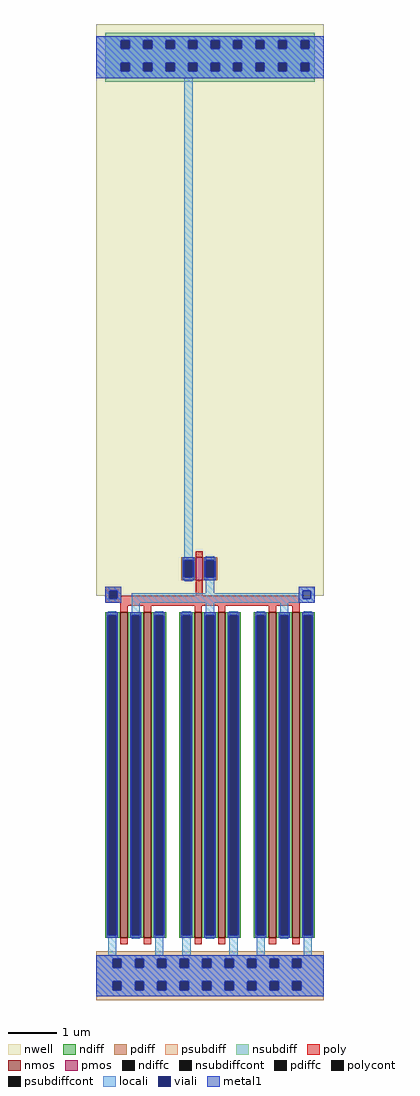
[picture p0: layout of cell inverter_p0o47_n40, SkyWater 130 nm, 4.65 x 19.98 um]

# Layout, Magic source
magic
tech sky130A
magscale 1 2
<< nwell >>
rect -36 1490 894 3830
<< psubdiff >>
rect -36 2 894 34
rect -36 -34 30 2
rect 66 -34 122 2
rect 158 -34 214 2
rect 250 -34 306 2
rect 342 -34 398 2
rect 434 -34 490 2
rect 526 -34 582 2
rect 618 -34 674 2
rect 710 -34 766 2
rect 802 -34 894 2
rect -36 -90 894 -34
rect -36 -126 30 -90
rect 66 -126 122 -90
rect 158 -126 214 -90
rect 250 -126 306 -90
rect 342 -126 398 -90
rect 434 -126 490 -90
rect 526 -126 582 -90
rect 618 -126 674 -90
rect 710 -126 766 -90
rect 802 -126 894 -90
rect -36 -166 894 -126
<< nsubdiff >>
rect 0 3764 858 3794
rect 0 3728 64 3764
rect 100 3728 156 3764
rect 192 3728 248 3764
rect 284 3728 340 3764
rect 376 3728 432 3764
rect 468 3728 524 3764
rect 560 3728 616 3764
rect 652 3728 708 3764
rect 744 3728 800 3764
rect 836 3728 858 3764
rect 0 3672 858 3728
rect 0 3636 64 3672
rect 100 3636 156 3672
rect 192 3636 248 3672
rect 284 3636 340 3672
rect 376 3636 432 3672
rect 468 3636 524 3672
rect 560 3636 616 3672
rect 652 3636 708 3672
rect 744 3636 800 3672
rect 836 3636 858 3672
rect 0 3594 858 3636
<< psubdiffcont >>
rect 30 -34 66 2
rect 122 -34 158 2
rect 214 -34 250 2
rect 306 -34 342 2
rect 398 -34 434 2
rect 490 -34 526 2
rect 582 -34 618 2
rect 674 -34 710 2
rect 766 -34 802 2
rect 30 -126 66 -90
rect 122 -126 158 -90
rect 214 -126 250 -90
rect 306 -126 342 -90
rect 398 -126 434 -90
rect 490 -126 526 -90
rect 582 -126 618 -90
rect 674 -126 710 -90
rect 766 -126 802 -90
<< nsubdiffcont >>
rect 64 3728 100 3764
rect 156 3728 192 3764
rect 248 3728 284 3764
rect 340 3728 376 3764
rect 432 3728 468 3764
rect 524 3728 560 3764
rect 616 3728 652 3764
rect 708 3728 744 3764
rect 800 3728 836 3764
rect 64 3636 100 3672
rect 156 3636 192 3672
rect 248 3636 284 3672
rect 340 3636 376 3672
rect 432 3636 468 3672
rect 524 3636 560 3672
rect 616 3636 652 3672
rect 708 3636 744 3672
rect 800 3636 836 3672
<< poly >>
rect 0 1510 66 1526
rect 0 1476 16 1510
rect 50 1490 66 1510
rect 370 1490 400 1526
rect 50 1476 796 1490
rect 0 1460 796 1476
rect 188 1448 366 1460
rect 492 1448 670 1460
<< polycont >>
rect 16 1476 50 1510
<< locali >>
rect -36 3764 894 3780
rect -36 3728 64 3764
rect 100 3728 156 3764
rect 192 3728 248 3764
rect 284 3728 340 3764
rect 376 3728 432 3764
rect 468 3728 524 3764
rect 560 3728 616 3764
rect 652 3728 708 3764
rect 744 3728 800 3764
rect 836 3728 894 3764
rect -36 3672 894 3728
rect -36 3636 64 3672
rect 100 3636 156 3672
rect 192 3636 248 3672
rect 284 3636 340 3672
rect 376 3636 432 3672
rect 468 3636 524 3672
rect 560 3636 616 3672
rect 652 3636 708 3672
rect 744 3636 800 3672
rect 836 3636 894 3672
rect -36 3608 894 3636
rect 324 1650 358 3608
rect 0 1510 66 1526
rect 0 1476 16 1510
rect 50 1476 66 1510
rect 412 1500 446 1548
rect 792 1510 858 1526
rect 792 1500 808 1510
rect 0 1460 66 1476
rect 108 1476 808 1500
rect 842 1476 858 1510
rect 108 1460 858 1476
rect 108 1426 142 1460
rect 412 1426 446 1460
rect 716 1426 750 1460
rect 12 18 46 84
rect 204 18 238 84
rect 316 18 350 84
rect 508 18 542 84
rect 620 18 654 84
rect 812 18 846 84
rect -36 2 894 18
rect -36 -34 30 2
rect 66 -34 122 2
rect 158 -34 214 2
rect 250 -34 306 2
rect 342 -34 398 2
rect 434 -34 490 2
rect 526 -34 582 2
rect 618 -34 674 2
rect 710 -34 766 2
rect 802 -34 894 2
rect -36 -90 894 -34
rect -36 -126 30 -90
rect 66 -126 122 -90
rect 158 -126 214 -90
rect 250 -126 306 -90
rect 342 -126 398 -90
rect 434 -126 490 -90
rect 526 -126 582 -90
rect 618 -126 674 -90
rect 710 -126 766 -90
rect 802 -126 894 -90
rect -36 -150 894 -126
<< viali >>
rect 64 3728 100 3764
rect 156 3728 192 3764
rect 248 3728 284 3764
rect 340 3728 376 3764
rect 432 3728 468 3764
rect 524 3728 560 3764
rect 616 3728 652 3764
rect 708 3728 744 3764
rect 800 3728 836 3764
rect 64 3636 100 3672
rect 156 3636 192 3672
rect 248 3636 284 3672
rect 340 3636 376 3672
rect 432 3636 468 3672
rect 524 3636 560 3672
rect 616 3636 652 3672
rect 708 3636 744 3672
rect 800 3636 836 3672
rect 16 1476 50 1510
rect 808 1476 842 1510
rect 30 -34 66 2
rect 122 -34 158 2
rect 214 -34 250 2
rect 306 -34 342 2
rect 398 -34 434 2
rect 490 -34 526 2
rect 582 -34 618 2
rect 674 -34 710 2
rect 766 -34 802 2
rect 30 -126 66 -90
rect 122 -126 158 -90
rect 214 -126 250 -90
rect 306 -126 342 -90
rect 398 -126 434 -90
rect 490 -126 526 -90
rect 582 -126 618 -90
rect 674 -126 710 -90
rect 766 -126 802 -90
<< metal1 >>
rect -36 3764 894 3780
rect -36 3728 64 3764
rect 100 3728 156 3764
rect 192 3728 248 3764
rect 284 3728 340 3764
rect 376 3728 432 3764
rect 468 3728 524 3764
rect 560 3728 616 3764
rect 652 3728 708 3764
rect 744 3728 800 3764
rect 836 3728 894 3764
rect -36 3672 894 3728
rect -36 3636 64 3672
rect 100 3636 156 3672
rect 192 3636 248 3672
rect 284 3636 340 3672
rect 376 3636 432 3672
rect 468 3636 524 3672
rect 560 3636 616 3672
rect 652 3636 708 3672
rect 744 3636 800 3672
rect 836 3636 894 3672
rect -36 3608 894 3636
rect 0 1510 66 1526
rect 0 1476 16 1510
rect 50 1476 66 1510
rect 0 1460 66 1476
rect 792 1510 858 1526
rect 792 1476 808 1510
rect 842 1476 858 1510
rect 792 1460 858 1476
rect -36 2 894 18
rect -36 -34 30 2
rect 66 -34 122 2
rect 158 -34 214 2
rect 250 -34 306 2
rect 342 -34 398 2
rect 434 -34 490 2
rect 526 -34 582 2
rect 618 -34 674 2
rect 710 -34 766 2
rect 802 -34 894 2
rect -36 -90 894 -34
rect -36 -126 30 -90
rect 66 -126 122 -90
rect 158 -126 214 -90
rect 250 -126 306 -90
rect 342 -126 398 -90
rect 434 -126 490 -90
rect 526 -126 582 -90
rect 618 -126 674 -90
rect 710 -126 766 -90
rect 802 -126 894 -90
rect -36 -150 894 -126
use sky130_fd_pr__nfet_01v8_CTSNWR  sky130_fd_pr__nfet_01v8_CTSNWR_0
transform 1 0 125 0 1 755
box -125 -693 125 723
use sky130_fd_pr__nfet_01v8_CTSNWR  sky130_fd_pr__nfet_01v8_CTSNWR_1
transform 1 0 429 0 1 755
box -125 -693 125 723
use sky130_fd_pr__nfet_01v8_CTSNWR  sky130_fd_pr__nfet_01v8_CTSNWR_2
transform 1 0 733 0 1 755
box -125 -693 125 723
use sky130_fd_pr__pfet_01v8_FCTDLW  sky130_fd_pr__pfet_01v8_FCTDLW_0
transform 1 0 385 0 1 1599
box -109 -109 109 109
<< end >>

# cell sky130_fd_pr__nfet_01v8_CTSNWR: kit device sky130_fd_pr__nfet_01v8, w 6.665 l 0.150 m 1 nf 2 diffcov 100 polycov 100 guard 0 glc 1 grc 1 gtc 1 gbc 1 tbcov 100 rlcov 100 topc 0 botc 0 poverlap 0 doverlap 1 lmin 0.15 wmin 0.42 class mosfet compatible {sky130_fd_pr__nfet_01v8 sky130_fd_pr__nfet_01v8_lvt sky130_fd_bs_flash__special_sonosfet_star sky130_fd_pr__nfet_g5v0d10v5 sky130_fd_pr__nfet_05v0_nvt sky130_fd_pr__nfet_03v3_nvt} full_metal 0 viasrc 100 viadrn 100 viagate 100 viagb 0 viagr 0 viagl 0 viagt 0

# cell sky130_fd_pr__pfet_01v8_FCTDLW: kit device sky130_fd_pr__pfet_01v8, w 0.47 l 0.15 m 1 nf 1 diffcov 100 polycov 100 guard 0 glc 1 grc 1 gtc 1 gbc 1 tbcov 100 rlcov 100 topc 0 botc 0 poverlap 0 doverlap 1 lmin 0.15 wmin 0.42 class mosfet compatible {sky130_fd_pr__pfet_01v8 sky130_fd_pr__pfet_01v8_lvt sky130_fd_pr__pfet_01v8_hvt sky130_fd_pr__pfet_g5v0d10v5} full_metal 0 viasrc 100 viadrn 100 viagate 100 viagb 0 viagr 0 viagl 0 viagt 0
